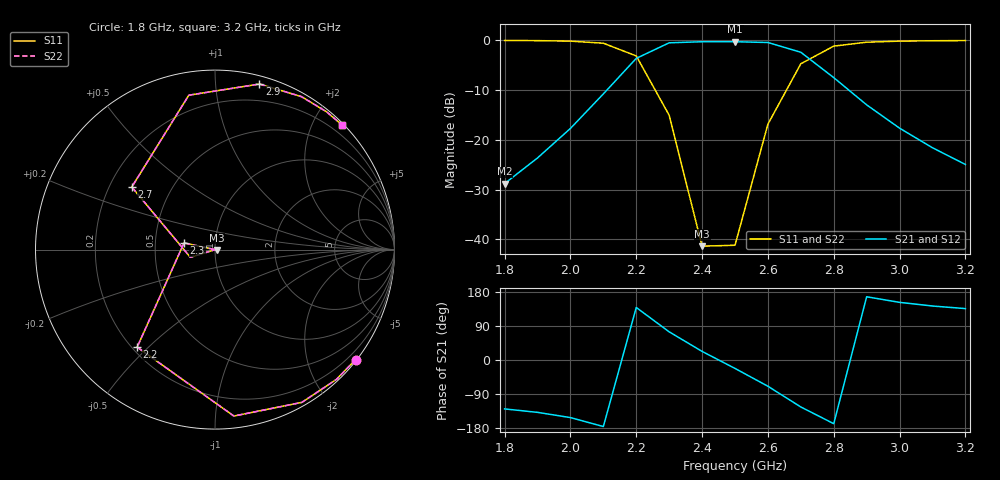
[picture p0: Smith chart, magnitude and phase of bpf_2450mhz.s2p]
! 2.45 GHz ISM Bandpass Filter (2nd-Order Coupled Resonator, Strictly Passive)
# GHz S MA R 50
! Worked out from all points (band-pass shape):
!   15 points, 1.8 GHz to 3.2 GHz, reference 50 ohm
!   highest |S21| = -0.30 dB at 2.5 GHz (marker M1); lowest = -28.8 dB at 1.8 GHz (marker M2)
!   |S21| within 3 dB of the highest: 2.211 GHz to 2.717 GHz (506.4 MHz wide, 20.6 % of centre)
!   lowest |S11| = -41.4 dB at 2.4 GHz (marker M3), VSWR 1.02, Z = 50.8 - j0.181 ohm
!   |S11| at or under -10 dB: 2.257 GHz to 2.657 GHz (399.1 MHz wide, 16.2 % of centre)
!   |S22| runs from -41.4 to 0.0 dB; largest |S21 - S12| = 0
!   S11 on the Smith chart (normalised r, x): 1.8 GHz: 0.03, -2.90; 2.2 GHz: 0.22, -0.46; 2.3 GHz: 0.70, +0.05; 2.7 GHz: 0.29, +0.31; 2.9 GHz: 0.06, +1.30; 3.2 GHz: 0.03, +2.45
1.8  0.9945 -38.0  0.03636 -129.1  0.03636 -129.1  0.9945 -38.0
1.9  0.9904 -46.9  0.06578 -138.2  0.06578 -138.2  0.9904 -46.9
2  0.9792 -60.4  0.1301 -152.0  0.1301 -152.0  0.9792 -60.4
2.1  0.9333 -83.5  0.2891 -175.6  0.2891 -175.6  0.9333 -83.5
2.2  0.6953 -128.6  0.6572 138.6  0.6572 138.6  0.6953 -128.6
2.3  0.1765 167.8  0.942 74.3  0.942 74.3  0.1765 167.8
2.4  0.008557 -12.0  0.9656 22.7  0.9656 22.7  0.008557 -12.0
2.5  0.008741 13.2  0.9657 -22.2  0.9657 -22.2  0.008741 13.2
2.6  0.1437 -162.6  0.9486 -69.3  0.9486 -69.3  0.1437 -162.6
2.7  0.5801 143.1  0.7569 -124.0  0.7569 -124.0  0.5801 143.1
2.8  0.8725 99.6  0.4212 -168.1  0.4212 -168.1  0.8725 99.6
2.9  0.9553 75.0  0.2244 166.9  0.2244 166.9  0.9553 75.0
3  0.979 60.5  0.1309 152.1  0.1309 152.1  0.979 60.5
3.1  0.9877 51.1  0.08326 142.5  0.08326 142.5  0.9877 51.1
3.2  0.9918 44.4  0.05658 135.6  0.05658 135.6  0.9918 44.4
